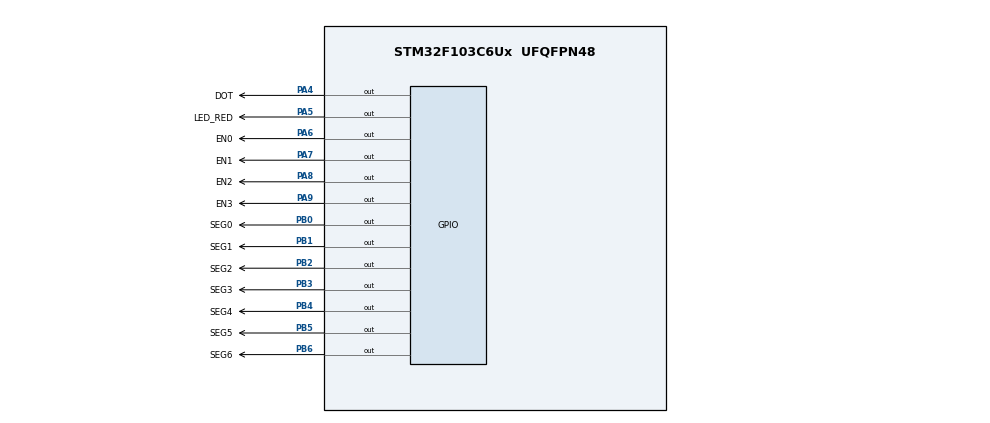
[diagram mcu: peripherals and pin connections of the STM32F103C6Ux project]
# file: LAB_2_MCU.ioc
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Mcu.Family=STM32F1
Mcu.Name=STM32F103C6Ux
Mcu.Package=UFQFPN48
NVIC.PriorityGroup=NVIC_PRIORITYGROUP_4
NVIC.TIM2_IRQn=true\:0\:0\:false\:false\:true\:true\:true
PA4.GPIO_Label=DOT
PA4.Signal=GPIO_Output
PA5.GPIO_Label=LED_RED
PA5.Signal=GPIO_Output
PA6.GPIO_Label=EN0
PA6.Signal=GPIO_Output
PA7.GPIO_Label=EN1
PA7.Signal=GPIO_Output
PA8.GPIO_Label=EN2
PA8.Signal=GPIO_Output
PA9.GPIO_Label=EN3
PA9.Signal=GPIO_Output
PB0.GPIO_Label=SEG0
PB0.Signal=GPIO_Output
PB1.GPIO_Label=SEG1
PB1.Signal=GPIO_Output
PB2.GPIO_Label=SEG2
PB2.Signal=GPIO_Output
PB3.GPIO_Label=SEG3
PB3.Signal=GPIO_Output
PB4.GPIO_Label=SEG4
PB4.Signal=GPIO_Output
PB5.GPIO_Label=SEG5
PB5.Signal=GPIO_Output
PB6.GPIO_Label=SEG6
PB6.Signal=GPIO_Output
ProjectManager.HeapSize=0x200
ProjectManager.StackSize=0x400
ProjectManager.TargetToolchain=STM32CubeIDE
RCC.APB1Freq_Value=8000000
RCC.APB2Freq_Value=8000000
TIM2.Period=9
TIM2.Prescaler=7999
VP_SYS_VS_ND.Mode=No_Debug
VP_TIM2_VS_ClockSourceINT.Mode=Internal
board=custom

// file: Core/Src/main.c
/* USER CODE BEGIN Header */
/**
  ******************************************************************************
  * @file           : main.c
  * @brief          : Main program body
  ******************************************************************************
  * @attention
  *
  * <h2><center>&copy; Copyright (c) 2024 STMicroelectronics.
  * All rights reserved.</center></h2>
  *
  * This software component is licensed by ST under BSD 3-Clause license,
  * the "License"; You may not use this file except in compliance with the
  * License. You may obtain a copy of the License at:
  *                        opensource.org/licenses/BSD-3-Clause
  *
  ******************************************************************************
  */
/* USER CODE END Header */
#include "main.h"

/* USER CODE BEGIN Includes */
#include "displayLed.h"
#include "timer.h"
/* USER CODE END Includes */

TIM_HandleTypeDef htim2;

void SystemClock_Config(void);
static void MX_TIM2_Init(void);
static void MX_GPIO_Init(void);

/* USER CODE BEGIN 0 */
int led_Buffer[4] = {1, 2, 3, 4};
void updateClockBuffer(int hour, int minute)
{
	led_Buffer[0] = hour / 10;
	led_Buffer[1] = hour % 10;
	led_Buffer[2] = minute / 10;
	led_Buffer[3] = minute % 10;
}
void update7SEG(int index)
{
	switch (index % 4) {
		case 0:
			displayNumber(led_Buffer[0]);
			break;
		case 1:
			displayNumber(led_Buffer[1]);
			break;
		case 2:
			displayNumber(led_Buffer[2]);
			break;
		case 3:
			displayNumber(led_Buffer[3]);
			break;
		default:
			break;
	}
}
/* USER CODE END 0 */

int main(void)
{

  /* MCU Configuration--------------------------------------------------------*/

  /* Reset of all peripherals, Initializes the Flash interface and the Systick. */
  HAL_Init();

  /* Configure the system clock */
  SystemClock_Config();

  /* Initialize all configured peripherals */
  MX_TIM2_Init();
  MX_GPIO_Init();
  /* USER CODE BEGIN 2 */
  HAL_TIM_Base_Start_IT(&htim2);

  /* USER CODE END 2 */

  /* Infinite loop */
  /* USER CODE BEGIN WHILE */
  HAL_GPIO_WritePin(EN0_GPIO_Port, EN0_Pin, SET);
  HAL_GPIO_WritePin(EN1_GPIO_Port, EN1_Pin, SET);
  HAL_GPIO_WritePin(EN2_GPIO_Port, EN2_Pin, SET);
  HAL_GPIO_WritePin(EN3_GPIO_Port, EN3_Pin, SET);
  setTimer1(1000);
  setTimer2(1000);
  int led_index = 0;
  int hour = 8;
  int minute = 59;
  int second = 55;
  updateClockBuffer(hour, minute);
  while (1)
  {
	  if (flag2 == 1)
	  {
		  setTimer2(1000);
		  HAL_GPIO_TogglePin(DOT_GPIO_Port, DOT_Pin);
		  second++;
		  if (second >= 60)
		  {
			  second = 0;
			  minute++;
		  }
		  if (minute >= 60)
		  {
			  minute = 0;
			  hour++;
		  }
		  if (hour >= 24)
			  hour = 0;
		  updateClockBuffer(hour, minute);
	  }
	  if (flag1 == 0)
	  {
		  update7SEG(led_index++);
		  HAL_GPIO_WritePin(EN0_GPIO_Port, EN0_Pin, RESET);
		  HAL_GPIO_WritePin(EN1_GPIO_Port, EN1_Pin, SET);
		  HAL_GPIO_WritePin(EN2_GPIO_Port, EN2_Pin, SET);
		  HAL_GPIO_WritePin(EN3_GPIO_Port, EN3_Pin, SET);
		  setFlag1(4);
	  }
	  if (flag1 == 1)
	  {
		  update7SEG(led_index++);
		  HAL_GPIO_WritePin(EN0_GPIO_Port, EN0_Pin, SET);
		  HAL_GPIO_WritePin(EN1_GPIO_Port, EN1_Pin, RESET);
		  HAL_GPIO_WritePin(EN2_GPIO_Port, EN2_Pin, SET);
		  HAL_GPIO_WritePin(EN3_GPIO_Port, EN3_Pin, SET);
		  setFlag1(4);
	  }
	  if (flag1 == 2)
	  {
		  update7SEG(led_index++);
		  HAL_GPIO_WritePin(EN0_GPIO_Port, EN0_Pin, SET);
		  HAL_GPIO_WritePin(EN1_GPIO_Port, EN1_Pin, SET);
		  HAL_GPIO_WritePin(EN2_GPIO_Port, EN2_Pin, RESET);
		  HAL_GPIO_WritePin(EN3_GPIO_Port, EN3_Pin, SET);
		  setFlag1(4);
	  }
	  if (flag1 == 3)
	  {
		  update7SEG(led_index++);
		  HAL_GPIO_WritePin(EN0_GPIO_Port, EN0_Pin, SET);
		  HAL_GPIO_WritePin(EN1_GPIO_Port, EN1_Pin, SET);
		  HAL_GPIO_WritePin(EN2_GPIO_Port, EN2_Pin, SET);
		  HAL_GPIO_WritePin(EN3_GPIO_Port, EN3_Pin, RESET);
		  setFlag1(4);
	  }
    /* USER CODE END WHILE */
  }
}

void SystemClock_Config(void)
{
  RCC_OscInitTypeDef RCC_OscInitStruct = {0};
  RCC_ClkInitTypeDef RCC_ClkInitStruct = {0};

  /** Initializes the RCC Oscillators according to the specified parameters
  * in the RCC_OscInitTypeDef structure.
  */
  RCC_OscInitStruct.OscillatorType = RCC_OSCILLATORTYPE_HSI;
  RCC_OscInitStruct.HSIState = RCC_HSI_ON;
  RCC_OscInitStruct.HSICalibrationValue = RCC_HSICALIBRATION_DEFAULT;
  RCC_OscInitStruct.PLL.PLLState = RCC_PLL_NONE;
  if (HAL_RCC_OscConfig(&RCC_OscInitStruct) != HAL_OK)
  {
    Error_Handler();
  }
  /** Initializes the CPU, AHB and APB buses clocks
  */
  RCC_ClkInitStruct.ClockType = RCC_CLOCKTYPE_HCLK|RCC_CLOCKTYPE_SYSCLK
                              |RCC_CLOCKTYPE_PCLK1|RCC_CLOCKTYPE_PCLK2;
  RCC_ClkInitStruct.SYSCLKSource = RCC_SYSCLKSOURCE_HSI;
  RCC_ClkInitStruct.AHBCLKDivider = RCC_SYSCLK_DIV1;
  RCC_ClkInitStruct.APB1CLKDivider = RCC_HCLK_DIV1;
  RCC_ClkInitStruct.APB2CLKDivider = RCC_HCLK_DIV1;

  if (HAL_RCC_ClockConfig(&RCC_ClkInitStruct, FLASH_LATENCY_0) != HAL_OK)
  {
    Error_Handler();
  }
}

static void MX_TIM2_Init(void)
{

  TIM_ClockConfigTypeDef sClockSourceConfig = {0};
  TIM_MasterConfigTypeDef sMasterConfig = {0};

  htim2.Instance = TIM2;
  htim2.Init.Prescaler = 7999;
  htim2.Init.CounterMode = TIM_COUNTERMODE_UP;
  htim2.Init.Period = 9;
  htim2.Init.ClockDivision = TIM_CLOCKDIVISION_DIV1;
  htim2.Init.AutoReloadPreload = TIM_AUTORELOAD_PRELOAD_DISABLE;
  if (HAL_TIM_Base_Init(&htim2) != HAL_OK)
  {
    Error_Handler();
  }
  sClockSourceConfig.ClockSource = TIM_CLOCKSOURCE_INTERNAL;
  if (HAL_TIM_ConfigClockSource(&htim2, &sClockSourceConfig) != HAL_OK)
  {
    Error_Handler();
  }
  sMasterConfig.MasterOutputTrigger = TIM_TRGO_RESET;
  sMasterConfig.MasterSlaveMode = TIM_MASTERSLAVEMODE_DISABLE;
  if (HAL_TIMEx_MasterConfigSynchronization(&htim2, &sMasterConfig) != HAL_OK)
  {
    Error_Handler();
  }

}

static void MX_GPIO_Init(void)
{
  GPIO_InitTypeDef GPIO_InitStruct = {0};

  /* GPIO Ports Clock Enable */
  __HAL_RCC_GPIOA_CLK_ENABLE();
  __HAL_RCC_GPIOB_CLK_ENABLE();

  /*Configure GPIO pin Output Level */
  HAL_GPIO_WritePin(GPIOA, DOT_Pin|LED_RED_Pin|EN0_Pin|EN1_Pin
                          |EN2_Pin|EN3_Pin, GPIO_PIN_RESET);

  /*Configure GPIO pin Output Level */
  HAL_GPIO_WritePin(GPIOB, SEG0_Pin|SEG1_Pin|SEG2_Pin|SEG3_Pin
                          |SEG4_Pin|SEG5_Pin|SEG6_Pin, GPIO_PIN_RESET);

  /*Configure GPIO pins : DOT_Pin LED_RED_Pin EN0_Pin EN1_Pin
                           EN2_Pin EN3_Pin */
  GPIO_InitStruct.Pin = DOT_Pin|LED_RED_Pin|EN0_Pin|EN1_Pin
                          |EN2_Pin|EN3_Pin;
  GPIO_InitStruct.Mode = GPIO_MODE_OUTPUT_PP;
  GPIO_InitStruct.Pull = GPIO_NOPULL;
  GPIO_InitStruct.Speed = GPIO_SPEED_FREQ_LOW;
  HAL_GPIO_Init(GPIOA, &GPIO_InitStruct);

  /*Configure GPIO pins : SEG0_Pin SEG1_Pin SEG2_Pin SEG3_Pin
                           SEG4_Pin SEG5_Pin SEG6_Pin */
  GPIO_InitStruct.Pin = SEG0_Pin|SEG1_Pin|SEG2_Pin|SEG3_Pin
                          |SEG4_Pin|SEG5_Pin|SEG6_Pin;
  GPIO_InitStruct.Mode = GPIO_MODE_OUTPUT_PP;
  GPIO_InitStruct.Pull = GPIO_NOPULL;
  GPIO_InitStruct.Speed = GPIO_SPEED_FREQ_LOW;
  HAL_GPIO_Init(GPIOB, &GPIO_InitStruct);

}

/* USER CODE BEGIN 4 */
void HAL_TIM_PeriodElapsedCallback(TIM_HandleTypeDef *htim)
{
	timerRun();
}
/* USER CODE END 4 */

void Error_Handler(void)
{
  __disable_irq();
  while (1)
  {
  }
}

/************************ (C) COPYRIGHT STMicroelectronics *****END OF FILE****/
